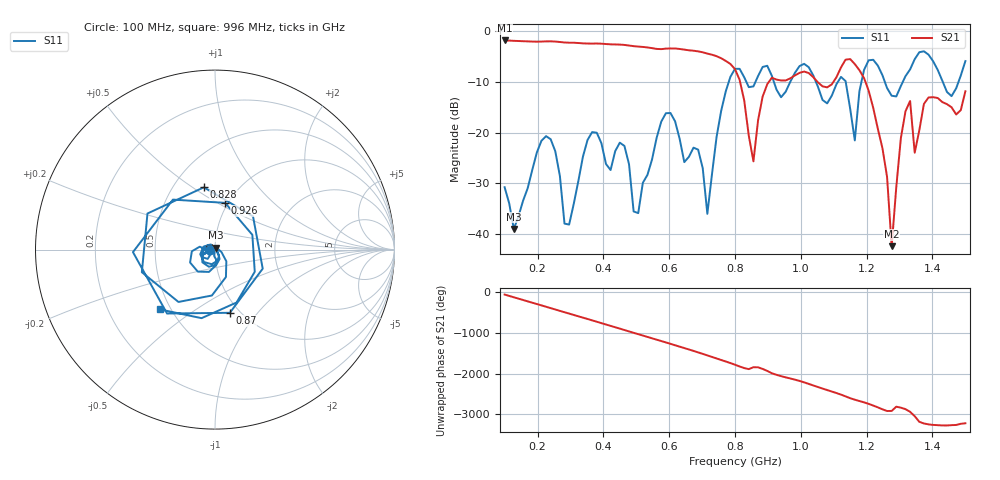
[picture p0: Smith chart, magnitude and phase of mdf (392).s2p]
! NanoVNA-App
! Date: 2025-09-25 15:41:28
! Start: 100MHz Stop: 1,5GHz Points: 101
! S-Parameter data: F S11 S21 S12 S22
# Hz S RI R 50
!  Frequency  S11_Real  S11_Imag  S21_Real  S21_Imag  S12_Real  S12_Imag  S22_Real  S22_Imag
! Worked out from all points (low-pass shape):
!   101 points, 100 MHz to 1.5 GHz, reference 50 ohm
!   highest |S21| = -1.80 dB at 100 MHz (marker M1); lowest = -42.4 dB at 1.276 GHz (marker M2)
!   |S21| within 3 dB of the highest: start of sweep to 739.2 MHz
!   lowest |S11| = -39.0 dB at 128 MHz (marker M3), VSWR 1.02, Z = 50.3 + j1.08 ohm
!   |S11| at or under -10 dB: start of sweep to 781 MHz; 1.046 GHz to 1.112 GHz (66.37 MHz wide, 6.15 % of centre); 1.255 GHz to 1.31 GHz (54.27 MHz wide, 4.23 % of centre) (the widest 3 of 7)
!   S12 and S22 are empty: the file has one direction only
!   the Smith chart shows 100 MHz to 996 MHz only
!   S11 on the Smith chart (normalised r, x): 100 MHz: 0.94, -0.01; 828 MHz: 0.70, +0.56; 870 MHz: 0.90, -0.73; 926 MHz: 0.97, +0.54; 996 MHz: 0.44, -0.37
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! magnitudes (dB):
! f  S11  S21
! 100 MHz  -30.7  -1.8
! 128 MHz  -39.0  -1.9
! 212 MHz  -21.6  -2.0
! 282 MHz  -37.9  -2.2
! 338 MHz  -24.7  -2.4
! 464 MHz  -22.6  -2.7
! 506 MHz  -35.9  -3.0
! 576 MHz  -17.8  -3.5
! 716 MHz  -36.0  -4.4
! 800 MHz  -7.4  -7.5
! 828 MHz  -9.1  -13.6
! 856 MHz  -10.9  -25.7
! 870 MHz  -8.8  -17.6
! 926 MHz  -11.5  -9.5
! 996 MHz  -6.9  -8.2
! 1.038 GHz  -8.7  -9.1
! 1.164 GHz  -21.5  -6.5
! 1.192 GHz  -7.6  -9.2
! 1.276 GHz  -12.7  -42.4
! 1.332 GHz  -7.5  -13.7
! 1.346 GHz  -5.5  -23.9
! 1.5 GHz  -5.9  -11.8
